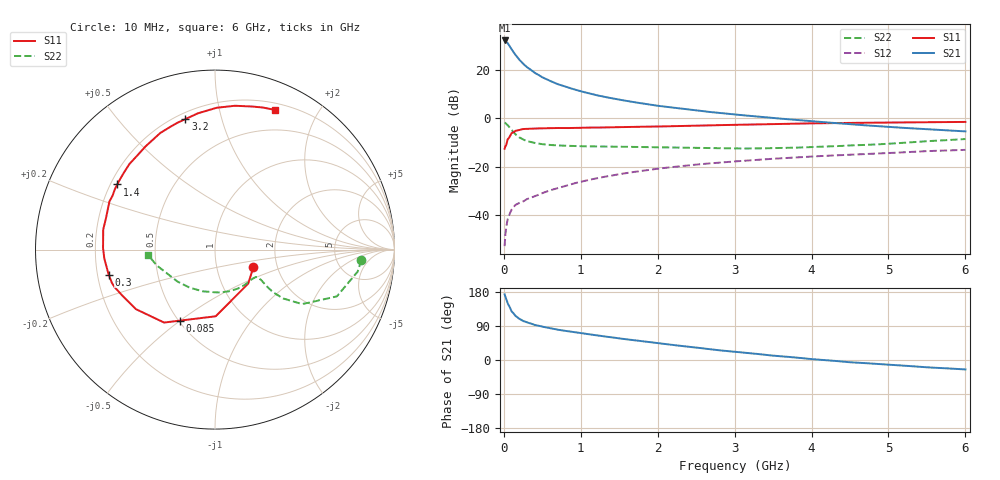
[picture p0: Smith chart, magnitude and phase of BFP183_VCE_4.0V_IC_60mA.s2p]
! Infineon Technologies  Discrete & RF Semiconductors
! BFP183
! VCE = 4.0 V,  IC =  60 mA
! Common Emitter S-Parameters:  Jan 2016
# GHz  S  MA  R  50
!  f  S11  S21  S12  S22
! GHz  MAG  ANG  MAG  ANG  MAG  ANG  MAG  ANG
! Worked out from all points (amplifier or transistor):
!   210 points, 10 MHz to 6 GHz, reference 50 ohm
!   highest |S21| = 32.5 dB at 10 MHz (marker M1)
!   |S21| within 3 dB of that: start of sweep to 86.55 MHz
!   unconditionally stable (mu >= 1): start of sweep to 21.8 MHz; 261.7 MHz to end of sweep
!   at 185 MHz: K = 0.83, MSG = 30.3 dB, |S12| = -35.4 dB
!   at 1.52 GHz: K = 1.48, MAG = 11.3 dB, |S12| = -23.1 dB
!   at 6 GHz: K = 1.14, MAG = 1.6 dB, |S12| = -13.1 dB
!   S11 on the Smith chart (normalised r, x): 10 MHz: 1.50, -0.31; 85 MHz: 0.51, -0.50; 300 MHz: 0.25, -0.11; 1.4 GHz: 0.23, +0.29; 3.2 GHz: 0.24, +0.77; 6 GHz: 0.27, +1.49
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0.01  0.235 -24.8  41.98 173.2  0.0022 68.0  0.8179 -4.1
0.02  0.265 -45.7  41.4 166.8  0.0038 73.1  0.804 -8.8
0.05  0.3715 -89.4  36.96 148.9  0.008 66.9  0.7272 -21.0
0.085  0.4424 -116.5  29.98 136.0  0.0112 55.5  0.6167 -28.1
0.1  0.4956 -124.9  27.62 128.7  0.0126 52.4  0.5731 -32.0
0.15  0.5514 -143.0  21.15 116.4  0.0159 50.0  0.4682 -35.6
0.2  0.5768 -153.7  16.79 108.7  0.0174 49.9  0.4051 -36.3
0.24  0.5971 -159.5  14.37 104.3  0.0184 50.1  0.3733 -35.8
0.3  0.6087 -166.8  11.71 99.1  0.021 51.3  0.3382 -34.7
0.4  0.6187 -175.4  8.954 92.6  0.0239 55.9  0.3078 -33.4
0.5  0.6238 179.2  7.183 87.9  0.0279 56.7  0.291 -33.1
0.6  0.627 174.1  6.058 83.8  0.0319 58.8  0.2808 -33.2
0.7  0.6328 169.8  5.176 80.1  0.0355 59.9  0.2745 -33.7
0.8  0.6309 165.8  4.575 76.8  0.0394 61.1  0.2708 -34.9
1.02  0.6406 158.0  3.606 70.2  0.049 61.8  0.2641 -38.1
1.4  0.6548 146.3  2.638 59.9  0.0646 60.5  0.2587 -45.3
2.02  0.6806 129.1  1.819 44.0  0.0908 55.8  0.2515 -60.0
3.1  0.7408 104.7  1.17 19.8  0.1309 45.4  0.2373 -92.6
3.2  0.7457 102.8  1.131 17.9  0.1344 44.4  0.2372 -96.0
4.1  0.7931 87.8  0.851 0.9  0.1645 35.6  0.2567 -126.7
5.1  0.8237 75.4  0.651 -13.6  0.1939 26.9  0.3043 -155.7
6  0.8471 66.7  0.538 -24.9  0.222 17.7  0.3732 -175.3
